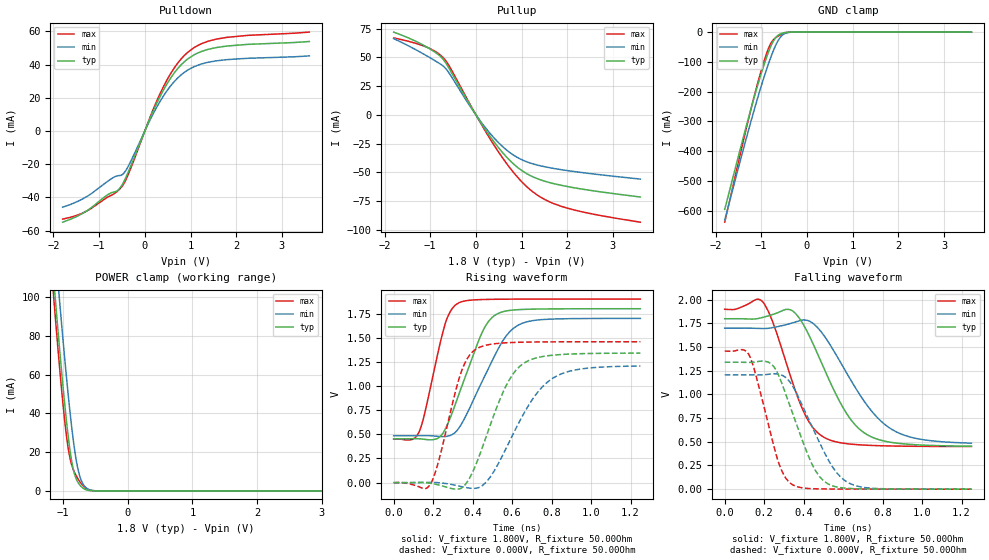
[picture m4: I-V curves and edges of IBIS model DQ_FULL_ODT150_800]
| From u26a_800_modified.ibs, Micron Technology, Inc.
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|MODEL DQ_FULL_ODT150_800 (Full-Strength IO Driver with 150 Ohm ODT Submodel)
[Model]   DQ_FULL_ODT150_800
Model_type   I/O
Vinl = 700.000mV
Vinh = 1.100V
Vmeas = 900.000mV
Vref = 900.000mV
Cref = 0.0pF
Rref = 25.000Ohm
|   typ   min   max
C_comp   2.890pF   2.490pF   3.280pF
| Note: C_comp increases when the ODT circuit is enabled.
[Model Spec]
| Input threshold voltage corners
Vinl   0.700V   0.650V   0.750V
Vinh   1.100V   1.050V   1.150V
| Measurement voltage corners
Vmeas   0.900V   0.850V   0.950V
| Timing spec test load voltage corners
Vref   0.900V   0.850V   0.950V
[Receiver Thresholds]
Vth   =  0.900V
Vth_min  =  0.882V
Vth_max  =  0.918V
Vinh_ac  =  0.200V
Vinh_dc  =  0.125V
Vinl_ac  = -0.200V
Vinl_dc  = -0.125V
Tslew_ac =  5.000ns |Not specified, so set to high value
Threshold_sensitivity = 0.50
Reference_supply Pullup_ref
[Voltage Range]   1.800V   1.700V   1.900V
[Pullup Reference]   1.800V   1.700V   1.900V
| Junction Temperature (Ambient temp is 25C typ, 85C min, 0C max)
[Temperature Range]   40.0   100.0   0.0
[Add Submodel]
| Submodel Name   Mode
150ohm_ODT_800   Non-Driving
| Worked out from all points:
|   slope of the pulldown table from 0 to 0.27 V, typ, clamps not added: 15.6 ohm
|   slope of the pullup table from 0 to 0.27 V, typ, clamps not added: 16.4 ohm
|   GND clamp passes 1 mA (typ) near -0.46 V on its own axis
|   POWER clamp passes 1 mA (typ) near -0.67 V on its own axis
|   falling waveform, V_fixture 1.800V, R_fixture 50.00Ohm: 20-80 % time 195ps typ, 233ps min, 149ps max; typ from 1.8 V to 0.453 V
|   rising waveform, V_fixture 1.800V, R_fixture 50.00Ohm: 20-80 % time 147ps typ, 175ps min, 96.5ps max; typ from 0.453 V to 1.8 V
|   rising waveform, V_fixture 0.000V, R_fixture 50.00Ohm: 20-80 % time 156ps typ, 201ps min, 110ps max; typ from 0 V to 1.34 V
|   falling waveform, V_fixture 0.000V, R_fixture 50.00Ohm: 20-80 % time 144ps typ, 170ps min, 109ps max; typ from 1.34 V to 0 V
[Pulldown]
|   Voltage   I(typ)   I(min)   I(max)
-1.8V     -54.94mA   -45.93mA   -53.1mA
-1.245V   -47.63mA   -39.06mA   -47.81mA
-700mV    -36.93mA   -28.2mA    -38.26mA
-500mV    -32.56mA   -26.37mA   -33.39mA
-340mV    -23.19mA   -19.99mA   -24.61mA
135mV     9.067mA    7.806mA    9.778mA
350mV     21.71mA    18.6mA     23.47mA
660mV     35.54mA    30.23mA    38.61mA
955mV     43.71mA    36.96mA    47.74mA
1.24V     47.91mA    40.36mA    52.57mA
1.775V    51.08mA    42.91mA    56.29mA
3.6V      53.89mA    45.21mA    59.56mA
[GND Clamp]
|   Voltage   I(typ)   I(min)   I(max)
-1.8V     -595.2mA   -630.3mA   -638.4mA
-1.34V    -323.5mA   -364.1mA   -331.7mA
-1.08V    -179.5mA   -222mA     -172.5mA
-955mV    -117.2mA   -159.1mA   -105.8mA
-860mV    -74.79mA   -114.7mA   -62.29mA
-780mV    -44.2mA    -80.29mA   -35.37mA
-695mV    -20.73mA   -48.19mA   -20.33mA
-620mV    -9.519mA   -25.92mA   -12.73mA
-545mV    -3.898mA   -11.34mA   -6.772mA
-460mV    -953.8uA   -3.4mA     -2.082mA
-355mV    -81.45uA   -577.5uA   -170.1uA
3.6V      0A         0A         0A
[Pullup]
|   Voltage   I(typ)   I(min)   I(max)
-1.8V     71.98mA    66.3mA     66.91mA
-1.055V   58.52mA    50.85mA    58.48mA
-700mV    47.38mA    41.88mA    48.99mA
-575mV    39.6mA     35.65mA    41.89mA
-110mV    7.244mA    6.413mA    7.851mA
290mV     -17.66mA   -15.22mA   -19.64mA
655mV     -36.07mA   -30.12mA   -41.46mA
1.02V     -48.94mA   -39.38mA   -58.96mA
1.41V     -56.56mA   -44.37mA   -71.55mA
1.87V     -61.4mA    -47.78mA   -79.67mA
2.57V     -66.17mA   -51.49mA   -86.49mA
3.6V      -71.57mA   -55.96mA   -93.47mA
[POWER Clamp]
|   Voltage   I(typ)   I(min)   I(max)
-1.8V     395.7mA    417.1mA    394.8mA
-1.15V    110.2mA    135.2mA    101.2mA
-1.135V   104.1mA    129.2mA    94.99mA
-1.115V   96.14mA    121.2mA    86.86mA
-1.06V    74.74mA    99.53mA    65.25mA
-950mV    36.17mA    58.91mA    28.57mA
-910mV    24.73mA    45.53mA    19.51mA
-865mV    14.67mA    31.91mA    13.06mA
-770mV    4.326mA    11.03mA    6.169mA
-670mV    985.5uA    2.416mA    1.978mA
-365mV    0A         0A         0A
3.6V      0A         0A         0A
[Ramp]
R_load = 50.00Ohm
|   typ   min   max
dV/dt_r   804.315mV/156.432ps 724.456mV/200.677ps 874.907mV/109.659ps
dV/dt_f   807.960mV/195.067ps 728.608mV/233.005ps 869.794mV/149.471ps
[Falling Waveform]
V_fixture = 1.800V
V_fixture_min = 1.700V
V_fixture_max = 1.900V
R_fixture = 50.00Ohm
|   Time   V(typ)   V(min)   V(max)
0s        1.8V       1.7V       1.9V
200ps     1.818V     1.697V     1.959V
260ps     1.857V     1.713V     1.67V
350ps     1.873V     1.76V      1.089V
420ps     1.656V     1.782V     736.6mV
500ps     1.29V      1.631V     551.3mV
660ps     681.5mV    1.079V     471.9mV
830ps     499.2mV    654.1mV    456.7mV
970ps     469mV      535.7mV    452.7mV
1.25ns    453.4mV    485.7mV    450.4mV
[Rising Waveform]
V_fixture = 1.800V
V_fixture_min = 1.700V
V_fixture_max = 1.900V
R_fixture = 50.00Ohm
|   Time   V(typ)   V(min)   V(max)
0s        453.4mV    485.7mV    450.4mV
90ps      454.4mV    485.8mV    445.3mV
130ps     453.6mV    486.4mV    529.3mV
220ps     455.6mV    480mV      1.304V
260ps     548.2mV    476.9mV    1.637V
330ps     911.8mV    563.3mV    1.862V
480ps     1.667V     1.181V     1.897V
570ps     1.777V     1.519V     1.899V
630ps     1.79V      1.629V     1.899V
1.25ns    1.8V       1.7V       1.9V
[Rising Waveform]
V_fixture = 0.000V
V_fixture_min = 0.000V
V_fixture_max = 0.000V
R_fixture = 50.00Ohm
|   Time   V(typ)   V(min)   V(max)
0s        -26.19uV   -34.51uV   -24.62uV
190ps     -7.958mV   2.509mV    -3.75mV
340ps     -60.2mV    -39.14mV   1.131V
420ps     203.9mV    -57.3mV    1.385V
490ps     598.7mV    59.84mV    1.431V
560ps     962.1mV    315.4mV    1.446V
660ps     1.237V     717.2mV    1.454V
750ps     1.303V     984.1mV    1.457V
850ps     1.326V     1.126V     1.458V
1.25ns    1.34V      1.207V     1.458V
[Falling Waveform]
V_fixture = 0.000V
V_fixture_min = 0.000V
V_fixture_max = 0.000V
R_fixture = 50.00Ohm
|   Time   V(typ)   V(min)   V(max)
0s        1.34V      1.207V     1.458V
90ps      1.34V      1.207V     1.473V
130ps     1.339V     1.207V     1.391V
250ps     1.291V     1.219V     448.2mV
290ps     1.116V     1.203V     190.6mV
340ps     825mV      1.104V     51.67mV
480ps     134.3mV    494.7mV    2.997mV
550ps     32.81mV    223mV      1.436mV
630ps     7.64mV     64mV       761uV
1.25ns    -26.19uV   -34.51uV   -24.62uV
